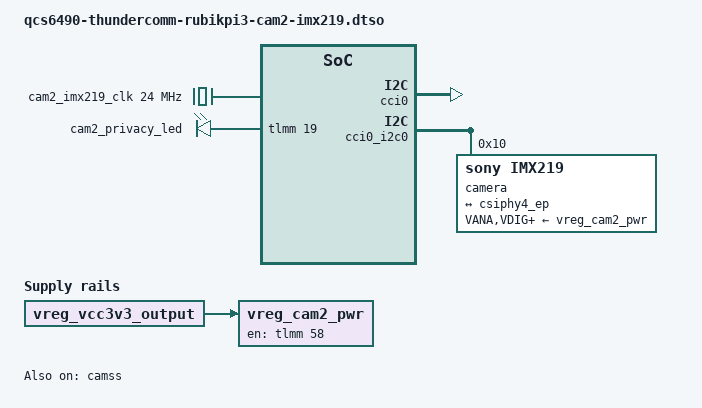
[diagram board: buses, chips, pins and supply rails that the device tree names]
// SPDX-License-Identifier: BSD-3-Clause
/*
 * Copyright (c) 2026, Thundercomm All rights reserved.
 */

/dts-v1/;
/plugin/;

#include <dt-bindings/gpio/gpio.h>
#include <dt-bindings/leds/common.h>

&{/} {
	cam2_imx219_clk: clock-camera2-24m {
		compatible = "fixed-clock";
		#clock-cells = <0>;
		clock-frequency = <24000000>;
	};

	leds-camera2 {
		compatible = "gpio-leds";

		pinctrl-0 = <&cam2_privacy_led_state>;
		pinctrl-names = "default";

		cam2_privacy_led: led-camera2 {
			function = LED_FUNCTION_INDICATOR;
			function-enumerator = <2>;
			gpios = <&tlmm 19 GPIO_ACTIVE_HIGH>;
			default-state = "off";
		};
	};

	/* Camera module power domain controlled through connector PWR_EN. */
	vreg_cam2_pwr: regulator-camera2-pwr {
		compatible = "regulator-fixed";

		regulator-name = "vreg_camera2_pwr";

		gpio = <&tlmm 58 GPIO_ACTIVE_HIGH>;
		enable-active-high;

		pinctrl-0 = <&cam2_pwr_en>;
		pinctrl-names = "default";

		vin-supply = <&vreg_vcc3v3_output>;
	};
};

&camss {
	vdda-phy-supply = <&vreg_l10c_0p88>;
	vdda-pll-supply = <&vreg_l6b_1p2>;

	status = "okay";

	ports {
		#address-cells = <1>;
		#size-cells = <0>;

		port@4 {
			reg = <4>;

			csiphy4_ep: endpoint {
				data-lanes = <0 1>;
				remote-endpoint = <&cam2_imx219_ep>;
			};
		};
	};
};

&cci0 {
	status = "okay";
};

&cci0_i2c0 {
	#address-cells = <1>;
	#size-cells = <0>;

	camera@10 {
		compatible = "sony,imx219";
		reg = <0x10>;

		clocks = <&cam2_imx219_clk>;

		VANA-supply = <&vreg_cam2_pwr>;
		VDIG-supply = <&vreg_cam2_pwr>;
		VDDL-supply = <&vreg_cam2_pwr>;

		leds = <&cam2_privacy_led>;
		led-names = "privacy";

		port {
			cam2_imx219_ep: endpoint {
				data-lanes = <1 2>;
				link-frequencies = /bits/ 64 <456000000>;
				remote-endpoint = <&csiphy4_ep>;
			};
		};
	};
};

&tlmm {
	cam2_privacy_led_state: cam2-privacy-led-state {
		pins = "gpio19";
		function = "gpio";
		drive-strength = <8>;
		bias-disable;
	};

	cam2_pwr_en: cam2-pwr-en-state {
		pins = "gpio58";
		function = "gpio";
		drive-strength = <8>;
		bias-disable;
	};
};
